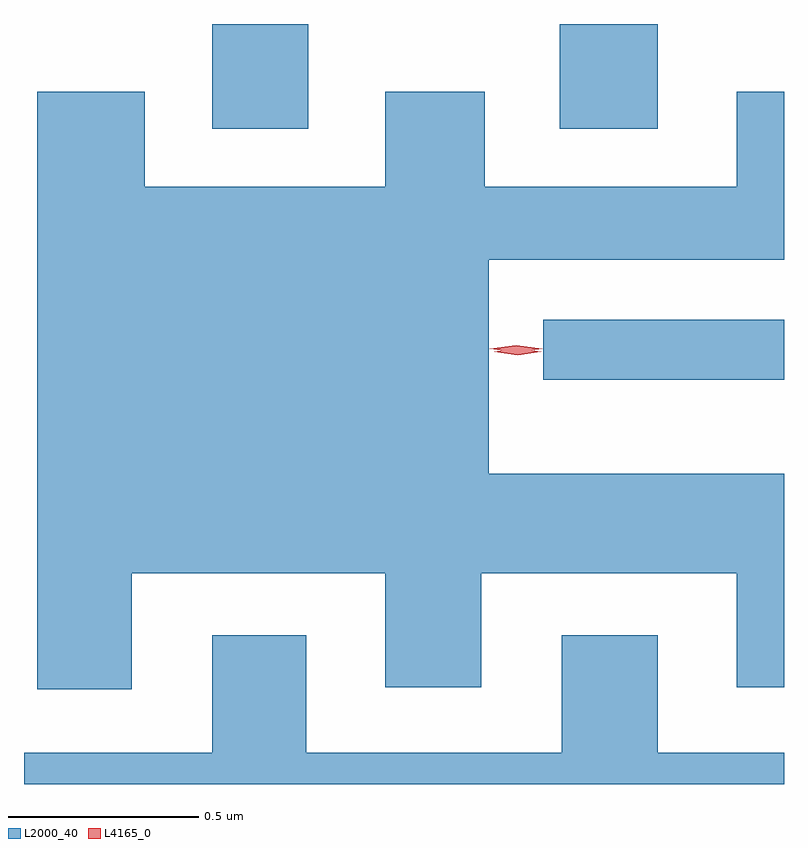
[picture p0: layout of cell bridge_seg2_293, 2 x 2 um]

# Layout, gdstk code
import gdstk
lib = gdstk.Library(unit=1e-6, precision=1e-09)
def R(c, l, rs):  # rectangles x0, y0, x1, y1
    for r in rs: c.add(gdstk.rectangle(r[:2], r[2:], *l))
def P(c, l, *ps):  # polygons
    for p in ps: c.add(gdstk.Polygon(p, *l))
L2000_40 = (2000, 40)
L4165_0 = (4165, 0)

bridge_seg2_293 = lib.new_cell('bridge_seg2_293')
R(bridge_seg2_293, L2000_40, [(603.543,1054.006,604.176,1054.164), (602.671,1054.666,602.924,1054.942), (603.586,1054.666,603.844,1054.942)])
P(bridge_seg2_293, L2000_40, [(602.459,1053.496),(603.126,1053.496),(603.126,1053.196),(603.379,1053.196),(603.379,1053.496),(604.051,1053.496),(604.051,1053.196),(604.176,1053.196),(604.176,1053.759),(603.399,1053.759),(603.399,1054.321),(604.176,1054.321),(604.176,1054.764),(604.051,1054.764),(604.051,1054.514),(603.389,1054.514),(603.389,1054.764),(603.126,1054.764),(603.126,1054.514),(602.494,1054.514),(602.494,1054.764),(602.211,1054.764),(602.211,1053.191),(602.459,1053.191)],
  [(604.176,1053.024),(603.844,1053.024),(603.844,1053.334),(603.591,1053.334),(603.591,1053.024),(602.919,1053.024),(602.919,1053.334),(602.671,1053.334),(602.671,1053.024),(602.176,1053.024),(602.176,1052.942),(604.176,1052.942)])
P(bridge_seg2_293, L4165_0, [(603.475,1054.07),(603.413,1054.079),(603.412,1054.08),(603.413,1054.08),(603.475,1054.09),(603.536,1054.08),(603.537,1054.08),(603.536,1054.079)],
  [(603.471,1054.078),(603.402,1054.087),(603.402,1054.088),(603.402,1054.088),(603.471,1054.097),(603.54,1054.088),(603.54,1054.087),(603.54,1054.087)])

lib.write_gds('bridge_seg2_293.gds')
